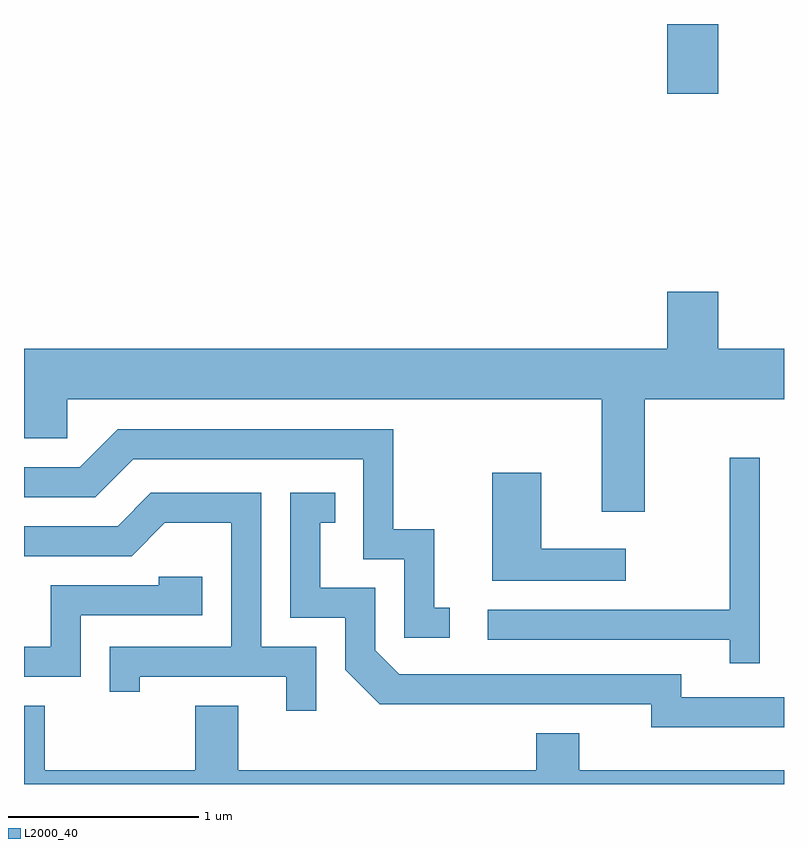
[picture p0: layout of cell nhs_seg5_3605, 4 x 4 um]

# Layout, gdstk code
import gdstk
lib = gdstk.Library(unit=1e-6, precision=1e-09)
def R(c, l, rs):  # rectangles x0, y0, x1, y1
    for r in rs: c.add(gdstk.rectangle(r[:2], r[2:], *l))
def P(c, l, *ps):  # polygons
    for p in ps: c.add(gdstk.Polygon(p, *l))
L2000_40 = (2000, 40)

nhs_seg5_3605 = lib.new_cell('nhs_seg5_3605')
R(nhs_seg5_3605, L2000_40, [(294.996,1491.706,295.264,1492.072)])
P(nhs_seg5_3605, L2000_40, [(294.879,1490.096),(295.611,1490.096),(295.611,1490.364),(295.264,1490.364),(295.264,1490.664),(294.996,1490.664),(294.996,1490.364),(291.611,1490.364),(291.611,1489.891),(291.839,1489.891),(291.839,1490.096),(294.651,1490.096),(294.651,1489.506),(294.879,1489.506)],
  [(293.853,1488.999),(293.769,1488.999),(293.769,1489.414),(293.554,1489.414),(293.554,1489.939),(292.104,1489.939),(291.904,1489.739),(291.611,1489.739),(291.611,1489.581),(291.987,1489.581),(292.187,1489.781),(293.396,1489.781),(293.396,1489.256),(293.611,1489.256),(293.611,1488.841),(293.853,1488.841)],
  [(295.484,1489.788),(295.326,1489.788),(295.326,1488.989),(294.053,1488.989),(294.053,1488.831),(295.326,1488.831),(295.326,1488.708),(295.484,1488.708)],
  [(294.778,1489.309),(294.334,1489.309),(294.334,1489.709),(294.076,1489.709),(294.076,1489.141),(294.778,1489.141)],
  [(295.611,1488.529),(295.069,1488.529),(295.069,1488.649),(293.587,1488.649),(293.459,1488.777),(293.459,1489.104),(293.169,1489.104),(293.169,1489.446),(293.248,1489.446),(293.248,1489.604),(293.011,1489.604),(293.011,1488.946),(293.301,1488.946),(293.301,1488.674),(293.484,1488.491),(294.911,1488.491),(294.911,1488.371),(295.611,1488.371)],
  [(293.149,1488.794),(292.859,1488.794),(292.859,1489.604),(292.279,1489.604),(292.104,1489.429),(291.611,1489.429),(291.611,1489.271),(292.177,1489.271),(292.352,1489.446),(292.701,1489.446),(292.701,1488.794),(292.061,1488.794),(292.061,1488.558),(292.219,1488.558),(292.219,1488.636),(292.991,1488.636),(292.991,1488.458),(293.149,1488.458)],
  [(291.909,1488.961),(292.549,1488.961),(292.549,1489.164),(292.321,1489.164),(292.321,1489.119),(291.751,1489.119),(291.751,1488.794),(291.611,1488.794),(291.611,1488.636),(291.909,1488.636)],
  [(294.306,1488.339),(294.306,1488.144),(292.739,1488.144),(292.739,1488.484),(292.511,1488.484),(292.511,1488.144),(291.719,1488.144),(291.719,1488.484),(291.611,1488.484),(291.611,1488.072),(295.611,1488.072),(295.611,1488.144),(294.534,1488.144),(294.534,1488.339)])

lib.write_gds('nhs_seg5_3605.gds')
